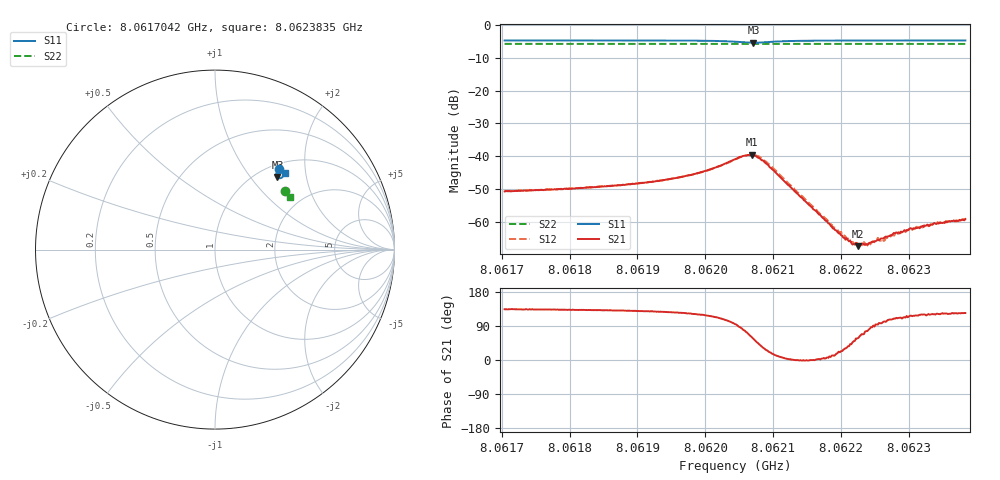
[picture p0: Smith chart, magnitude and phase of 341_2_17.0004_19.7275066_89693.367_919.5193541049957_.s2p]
#  HZ  S  RI  R  50.00
! Rohde & Schwarz Vector Network Analyzer
! Rohde-Schwarz,ZNB20-2Port,1311601062101988,3.16
! Created: UTC 3/20/2024, 11:07:19 PM
! freq[Hz]  re:S11  im:S11  re:S21  im:S21  re:S12  im:S12  re:S22  im:S22
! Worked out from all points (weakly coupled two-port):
!   401 points, 8.0617042 GHz to 8.0623835 GHz, reference 50 ohm
!   highest |S21| = -39.52 dB at 8.0620693 GHz (marker M1); lowest = -67.3 dB at 8.0622256 GHz (marker M2)
!   lowest |S11| = -5.5 dB at 8.062071 GHz (marker M3), VSWR 3.27, Z = 61.2 + j68.5 ohm
!   |S11| at or under -10 dB: nowhere
!   |S22| runs from -5.9 to -5.8 dB; largest |S21 - S12| = 0.00065
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8.06170415e9  0.3586 0.4507  -0.00203 0.0021  -0.00196 0.00223  0.3921 0.3285
8.06181795e9  0.3662 0.4444  -0.00223 0.00245  -0.00205 0.00255  0.3965 0.323
8.06193174e9  0.3749 0.4353  -0.00254 0.00338  -0.00237 0.0035  0.4008 0.3171
8.06199119e9  0.38 0.4262  -0.00283 0.00484  -0.00253 0.00499  0.403 0.3137
8.06204384e9  0.3759 0.4043  -0.000757 0.009  -0.000538 0.00891  0.4042 0.3104
8.06205912e9  0.3627 0.3977  0.00249 0.00997  0.00246 0.00997  0.4044 0.3096
8.06206931e9  0.3499 0.4006  0.00545 0.00906  0.00535 0.00906  0.404 0.3092
8.06207101e9  0.3482 0.4019  0.0058 0.00852  0.00579 0.00864  0.404 0.3093
8.0620812e9  0.341 0.4131  0.0071 0.00571  0.00747 0.00602  0.404 0.3096
8.06209309e9  0.3421 0.4259  0.00674 0.00278  0.00711 0.00291  0.4047 0.3095
8.06215763e9  0.3666 0.438  0.00165 -5.72e-06  0.00175 -0.000175  0.4082 0.3067
8.0621865e9  0.3719 0.4364  0.000832 0.000171  0.000904 7.67e-05  0.4094 0.3053
8.06220349e9  0.3744 0.4353  0.000519 0.000259  0.000578 0.000216  0.41 0.3044
8.06221708e9  0.3759 0.4345  0.000312 0.000331  0.000407 0.000294  0.4107 0.3036
8.06222557e9  0.3769 0.4339  0.000228 0.000365  0.000258 0.000368  0.411 0.3032
8.06224085e9  0.3785 0.433  8.18e-05 0.00047  0.000125 0.000466  0.4115 0.3024
8.06226124e9  0.3804 0.4318  -8.66e-05 0.000555  -1.03e-05 0.000555  0.4123 0.3014
8.06227143e9  0.3812 0.431  -0.000175 0.000587  -7.91e-05 0.000595  0.4126 0.3009
8.06227992e9  0.3819 0.4306  -0.000216 0.000637  -0.00017 0.000636  0.413 0.3003
8.06231049e9  0.3844 0.4288  -0.000375 0.000718  -0.000355 0.000754  0.4141 0.2989
8.06234616e9  0.3869 0.4269  -0.000494 0.00083  -0.000471 0.000876  0.4154 0.2969
8.06238352e9  0.3895 0.4247  -0.000621 0.000922  -0.000556 0.00094  0.4165 0.2949
